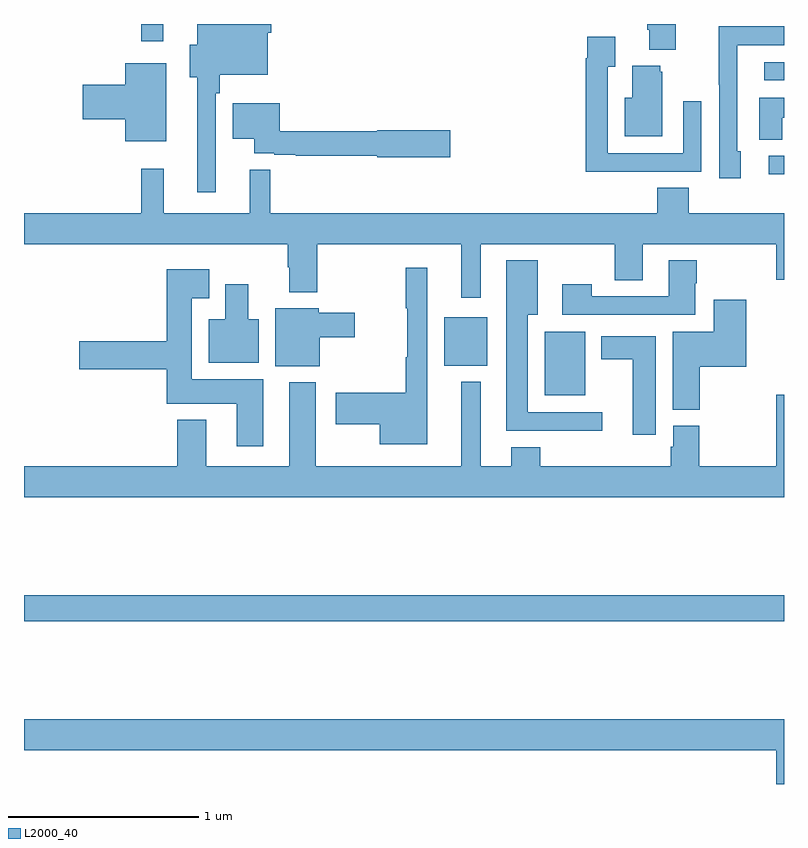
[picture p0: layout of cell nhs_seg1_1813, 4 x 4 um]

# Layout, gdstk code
import gdstk
lib = gdstk.Library(unit=1e-6, precision=1e-09)
def R(c, l, rs):  # rectangles x0, y0, x1, y1
    for r in rs: c.add(gdstk.rectangle(r[:2], r[2:], *l))
def P(c, l, *ps):  # polygons
    for p in ps: c.add(gdstk.Polygon(p, *l))
L2000_40 = (2000, 40)

nhs_seg1_1813 = lib.new_cell('nhs_seg1_1813')
R(nhs_seg1_1813, L2000_40, [(209,575.056,213,575.192), (211.742,576.245,211.954,576.58), (211.211,576.401,211.438,576.655), (212.919,577.409,213,577.506), (212.895,577.902,213,577.998), (209.617,578.109,209.734,578.199)])
P(nhs_seg1_1813, L2000_40, [(212.431,578.199),(212.279,578.199),(212.279,578.17),(212.291,578.17),(212.291,578.063),(212.431,578.063)],
  [(210.009,577.835),(210.029,577.835),(210.029,577.931),(210.282,577.931),(210.282,578.153),(210.302,578.153),(210.302,578.199),(209.912,578.199),(209.912,578.089),(209.873,578.089),(209.873,577.919),(209.912,577.919),(209.912,577.314),(210.009,577.314)],
  [(212.773,577.53),(212.754,577.53),(212.754,578.088),(213,578.088),(213,578.186),(212.656,578.186),(212.656,577.879),(212.658,577.879),(212.658,577.386),(212.773,577.386)],
  [(212.249,577.422),(212.565,577.422),(212.565,577.792),(212.469,577.792),(212.469,577.518),(212.073,577.518),(212.073,577.975),(212.113,577.975),(212.113,578.131),(211.965,578.131),(211.965,578.018),(211.957,578.018),(211.957,577.421),(212.249,577.421)],
  [(209.749,577.993),(209.534,577.993),(209.534,577.88),(209.31,577.88),(209.31,577.697),(209.534,577.697),(209.534,577.583),(209.749,577.583)],
  [(212.359,577.947),(212.348,577.947),(212.348,577.978),(212.201,577.978),(212.201,577.81),(212.162,577.81),(212.162,577.607),(212.359,577.607)],
  [(212.991,577.706),(213,577.706),(213,577.81),(212.87,577.81),(212.87,577.591),(212.991,577.591)],
  [(211.243,577.64),(210.858,577.64),(210.858,577.634),(210.347,577.634),(210.347,577.783),(210.098,577.783),(210.098,577.595),(210.212,577.595),(210.212,577.518),(210.316,577.518),(210.316,577.512),(210.43,577.512),(210.43,577.506),(210.858,577.506),(210.858,577.498),(211.243,577.498)],
  [(211.405,577.04),(212.11,577.04),(212.11,576.85),(212.257,576.85),(212.257,577.04),(212.96,577.04),(212.96,576.852),(213,576.852),(213,577.204),(212.498,577.204),(212.498,577.337),(212.333,577.337),(212.333,577.204),(210.296,577.204),(210.296,577.433),(210.188,577.433),(210.188,577.204),(209.735,577.204),(209.735,577.438),(209.617,577.438),(209.617,577.204),(209,577.204),(209,577.04),(210.388,577.04),(210.388,576.92),(210.395,576.92),(210.395,576.788),(210.543,576.788),(210.543,577.04),(211.301,577.04),(211.301,576.759),(211.405,576.759)],
  [(212.044,576.156),(211.651,576.156),(211.651,576.668),(211.705,576.668),(211.705,576.955),(211.538,576.955),(211.538,576.059),(212.044,576.059)],
  [(212.533,576.835),(212.541,576.835),(212.541,576.955),(212.393,576.955),(212.393,576.765),(211.989,576.765),(211.989,576.829),(211.833,576.829),(211.833,576.669),(212.533,576.669)],
  [(211.123,576.916),(211.009,576.916),(211.009,576.703),(211.017,576.703),(211.017,576.446),(211.009,576.446),(211.009,576.258),(210.642,576.258),(210.642,576.092),(210.872,576.092),(210.872,575.987),(211.123,575.987)],
  [(210.259,576.328),(209.884,576.328),(209.884,576.755),(209.974,576.755),(209.974,576.907),(209.75,576.907),(209.75,576.53),(209.292,576.53),(209.292,576.383),(209.75,576.383),(209.75,576.2),(210.119,576.2),(210.119,575.976),(210.259,575.976)],
  [(210.235,576.646),(210.181,576.646),(210.181,576.829),(210.059,576.829),(210.059,576.646),(209.972,576.646),(209.972,576.416),(210.235,576.416)],
  [(212.556,576.395),(212.801,576.395),(212.801,576.748),(212.63,576.748),(212.63,576.58),(212.414,576.58),(212.414,576.169),(212.556,576.169)],
  [(210.556,576.55),(210.742,576.55),(210.742,576.679),(210.552,576.679),(210.552,576.703),(210.323,576.703),(210.323,576.398),(210.556,576.398)],
  [(212.326,576.556),(212.039,576.556),(212.039,576.434),(212.204,576.434),(212.204,576.036),(212.326,576.036)],
  [(213,576.247),(212.96,576.247),(212.96,575.872),(212.553,575.872),(212.553,576.084),(212.417,576.084),(212.417,575.973),(212.405,575.973),(212.405,575.872),(211.718,575.872),(211.718,575.971),(211.565,575.971),(211.565,575.872),(211.405,575.872),(211.405,576.316),(211.301,576.316),(211.301,575.872),(210.535,575.872),(210.535,576.313),(210.395,576.313),(210.395,575.872),(209.959,575.872),(209.959,576.115),(209.807,576.115),(209.807,575.872),(209,575.872),(209,575.708),(213,575.708)],
  [(213,574.54),(209,574.54),(209,574.376),(212.96,574.376),(212.96,574.199),(213,574.199)])

lib.write_gds('nhs_seg1_1813.gds')
